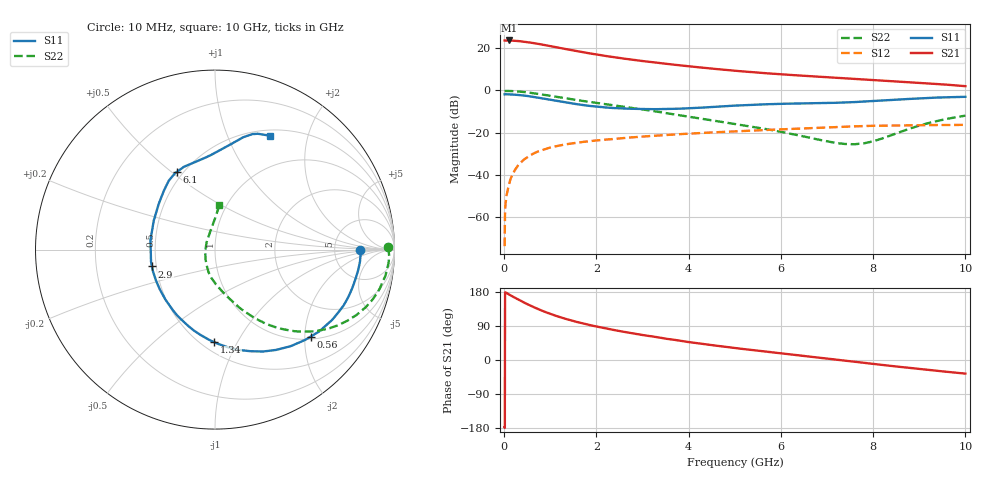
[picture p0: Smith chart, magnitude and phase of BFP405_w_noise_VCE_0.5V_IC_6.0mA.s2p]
! Infineon Technologies  Discrete & RF Semiconductors
! BFP405
! VCE =  0.5 V,  IC =  6.0 mA
! Common Emitter S-Parameters:  Jan 2016
# GHz  S  MA  R  50
!  f  S11  S21  S12  S22
! GHz  MAG  ANG  MAG  ANG  MAG  ANG  MAG  ANG
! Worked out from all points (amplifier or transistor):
!   233 points, 10 MHz to 10 GHz, reference 50 ohm
!   highest |S21| = 23.7 dB at 100 MHz (marker M1)
!   |S21| within 3 dB of that: start of sweep to 1.078 GHz
!   unconditionally stable (mu >= 1): start of sweep to 15.22 MHz; 2.848 GHz to end of sweep
!   at 200 MHz: K = 0.13, MSG = 31.4 dB, |S12| = -39.2 dB
!   at 1.74 GHz: K = 0.69, MSG = 21.2 dB, |S12| = -24.4 dB
!   at 10 GHz: K = 1.49, MAG = 5.0 dB, |S12| = -16.4 dB
!   lowest NFmin = 1.32 dB at 900 MHz
!   S11 on the Smith chart (normalised r, x): 10 MHz: 9.39, +0.00; 560 MHz: 1.06, -2.14; 1.34 GHz: 0.58, -0.81; 2.9 GHz: 0.47, -0.10; 6.1 GHz: 0.46, +0.52; 10 GHz: 0.57, +1.43
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0.01  0.8075 0.0  15.27 -177.2  0.0002 5.1  0.9624 0.8
0.02  0.8116 -1.8  15.29 178.5  0.0014 101.1  0.9676 -0.6
0.05  0.8112 -4.3  15.25 177.1  0.0031 92.7  0.9712 -1.9
0.1  0.8065 -7.9  15.34 173.1  0.0055 86.1  0.97 -4.3
0.26  0.7868 -20.4  15.07 162.6  0.0142 79.1  0.9487 -11.5
0.4  0.7612 -31.0  14.51 153.6  0.0213 73.9  0.9219 -17.4
0.56  0.7201 -42.3  13.69 144.1  0.0284 68.1  0.879 -23.4
0.7  0.6833 -52.0  12.94 136.4  0.0343 63.7  0.8357 -28.4
0.9  0.6272 -64.9  11.84 126.2  0.0408 58.4  0.7758 -34.3
1.12  0.5679 -78.1  10.65 116.7  0.0472 53.5  0.7087 -40.0
1.34  0.5159 -90.4  9.569 108.3  0.0524 49.6  0.6484 -44.7
1.68  0.4533 -108.4  8.177 97.2  0.0592 44.9  0.5673 -50.6
2.2  0.3937 -134.1  6.573 83.3  0.0679 39.6  0.4695 -57.7
2.9  0.3636 -165.0  5.145 68.0  0.0786 34.0  0.3656 -65.9
3.4  0.3601 175.4  4.419 58.5  0.0858 30.3  0.3024 -71.7
4  0.3773 154.8  3.737 47.3  0.094 26.0  0.2373 -80.1
5.1  0.4399 129.4  2.87 30.2  0.1077 18.3  0.1533 -98.8
6.1  0.4825 116.1  2.371 16.2  0.1202 11.6  0.0989 -118.1
6.8  0.4966 105.5  2.116 6.5  0.1296 6.5  0.0683 -141.1
7.6  0.5285 92.2  1.872 -4.7  0.1401 -0.2  0.0527 169.1
8.4  0.5941 81.4  1.648 -15.8  0.1464 -7.8  0.0868 112.8
10  0.7041 64.4  1.26 -35.9  0.1519 -19.4  0.2518 84.5
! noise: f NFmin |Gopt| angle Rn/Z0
0.9  1.32  0.32  10  0.32
1.8  1.58  0.25  16  0.31
2.4  1.71  0.21  23  0.31
3  1.74  0.18  41  0.28
4  1.9  0.07  58  0.25
5  2.27  0.03  180  0.23
